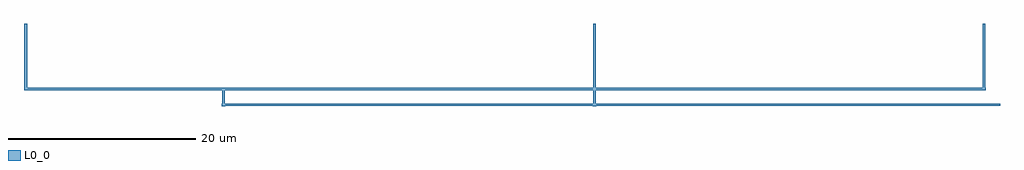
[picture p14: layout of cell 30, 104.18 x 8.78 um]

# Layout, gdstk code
import gdstk
lib = gdstk.Library(unit=1e-6, precision=1e-09)
def P(c, l, *ps):  # polygons
    for p in ps: c.add(gdstk.Polygon(p, *l))
L0_0 = (0, 0)

c_30 = lib.new_cell('30')
P(c_30, L0_0, [(1390,766.245),(1307.015,766.245),(1307.015,766.475),(1390,766.475),(1390,766.245)],
  [(1306.94,766.5),(1307.32,766.5),(1307.32,766.22),(1306.94,766.22),(1306.94,766.5)],
  [(1285.82,768.18),(1286.2,768.18),(1286.2,767.9),(1285.82,767.9),(1285.82,768.18)],
  [(1388.12,768.18),(1388.5,768.18),(1388.5,767.9),(1388.12,767.9),(1388.12,768.18)],
  [(1285.895,768.155),(1388.425,768.155),(1388.425,767.925),(1285.895,767.925),(1285.895,768.155)],
  [(1388.45,775),(1388.45,767.9),(1388.17,767.9),(1388.17,775),(1388.45,775)],
  [(1388.12,768.18),(1388.5,768.18),(1388.5,767.9),(1388.12,767.9),(1388.12,768.18)],
  [(1286.15,775),(1286.15,767.9),(1285.87,767.9),(1285.87,775),(1286.15,775)],
  [(1285.82,768.18),(1286.2,768.18),(1286.2,767.9),(1285.82,767.9),(1285.82,768.18)],
  [(1306.99,766.22),(1306.99,768.18),(1307.27,768.18),(1307.27,766.22),(1306.99,766.22)],
  [(1306.94,768.18),(1307.32,768.18),(1307.32,767.9),(1306.94,767.9),(1306.94,768.18)],
  [(1306.94,766.5),(1307.32,766.5),(1307.32,766.22),(1306.94,766.22),(1306.94,766.5)],
  [(1346.54,766.5),(1346.92,766.5),(1346.92,766.22),(1346.54,766.22),(1346.54,766.5)],
  [(1346.87,775),(1346.87,766.22),(1346.59,766.22),(1346.59,775),(1346.87,775)])

lib.write_gds('30.gds')
